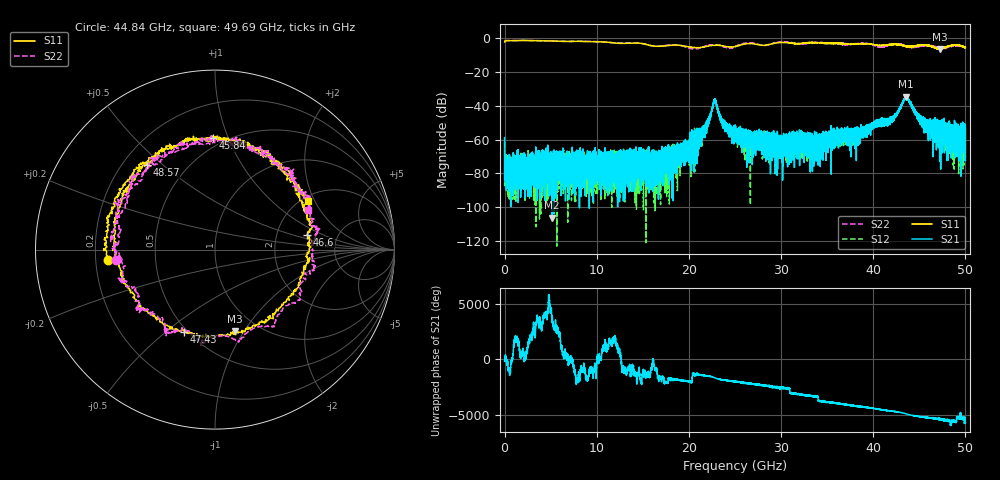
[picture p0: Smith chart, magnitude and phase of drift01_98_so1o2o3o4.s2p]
!Created with skrf (http://scikit-rf.org).
# Hz S RI R 50.0
!freq ReS11 ImS11 ReS21 ImS21 ReS12 ImS12 ReS22 ImS22
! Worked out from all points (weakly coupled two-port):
!   10001 points, 300 kHz to 50 GHz, reference 50 ohm
!   highest |S21| = -34.62 dB at 43.53 GHz (marker M1); lowest = -106.3 dB at 5.135 GHz (marker M2)
!   lowest |S11| = -6.6 dB at 47.2 GHz (marker M3), VSWR 2.76, Z = 39.2 - j45.7 ohm
!   |S11| at or under -10 dB: nowhere
!   |S22| runs from -6.5 to -1.4 dB; largest |S21 - S12| = 0.0043
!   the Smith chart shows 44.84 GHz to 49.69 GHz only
!   S11 on the Smith chart (normalised r, x): 44.84 GHz: 0.25, -0.04; 45.84 GHz: 0.44, +0.88; 46.6 GHz: 2.99, +0.69; 47.43 GHz: 0.48, -0.58; 48.57 GHz: 0.30, +0.44; 49.69 GHz: 2.16, +1.76
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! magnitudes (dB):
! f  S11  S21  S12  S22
! 300 kHz  -2.1  -58.9  -61.4  -2.1
! 255.3 MHz  -1.4  -74.5  -81.4  -1.4
! 5.135 GHz  -1.7  -106.3  -79.0  -1.6
! 8.335 GHz  -1.9  -76.5  -75.5  -1.8
! 16.67 GHz  -4.8  -71.4  -67.1  -4.8
! 20.79 GHz  -5.6  -59.3  -56.8  -6.2
! 21.97 GHz  -4.8  -49.0  -50.0  -4.5
! 22.79 GHz  -4.3  -36.1  -36.1  -4.0
! 23.76 GHz  -4.7  -52.7  -49.5  -5.0
! 25 GHz  -5.0  -58.5  -56.7  -5.0
! 29.59 GHz  -2.8  -61.6  -61.6  -2.6
! 33.34 GHz  -2.6  -60.7  -58.5  -2.7
! 41.67 GHz  -3.9  -48.0  -49.0  -4.1
! 43.53 GHz  -4.7  -34.6  -35.4  -4.6
! 44.84 GHz  -4.4  -46.4  -46.8  -5.1
! 45.84 GHz  -4.1  -50.9  -54.7  -4.4
! 46.6 GHz  -5.7  -50.5  -53.4  -5.0
! 47.2 GHz  -6.6  -55.1  -51.7  -6.0
! 47.43 GHz  -6.2  -52.2  -53.7  -5.5
! 48.57 GHz  -4.4  -65.4  -60.4  -4.5
! 49.69 GHz  -4.7  -58.2  -54.7  -5.0
! 50 GHz  -5.5  -52.3  -53.1  -5.4
